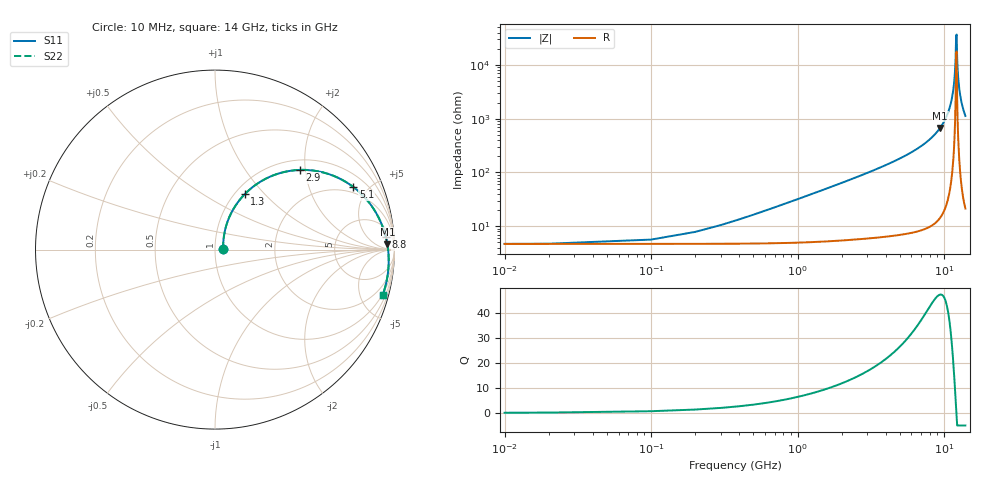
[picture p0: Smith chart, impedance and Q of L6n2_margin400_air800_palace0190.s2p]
! Created with skrf 2.2.0 (http://scikit-rf.org).
# GHz S DB R 50.0
! Port[1] = P1
! Port[2] = P2
!freq dBS11 angS11 dBS21 angS21 dBS12 angS12 dBS22 angS22
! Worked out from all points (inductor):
!   142 points, 10 MHz to 14 GHz, reference 50 ohm
!   read as one part in series: L = 4.98 nH near 500 MHz
!   highest Q = 47.1 at 9.4 GHz (marker M1), where L = 11.4 nH
!   self-resonance near 12.1 GHz
!   S11 on the Smith chart (normalised r, x): 10 MHz: 1.09, +0.01; 1.3 GHz: 1.11, +0.78; 2.9 GHz: 1.22, +1.87; 5.1 GHz: 1.63, +4.01; 8.8 GHz: 12, +19; 14 GHz: 0.93, -7.49
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0.01  -26.97 3.4  -0.40 -0.2  -0.40 -0.2  -26.97 3.4
0.6  -15.30 65.9  -0.59 -10.8  -0.59 -10.8  -15.30 65.9
1.3  -9.08 61.7  -1.11 -22.3  -1.11 -22.3  -9.08 61.7
2.4  -4.83 48.7  -2.40 -37.9  -2.40 -37.9  -4.84 48.7
2.9  -3.77 43.2  -3.12 -43.9  -3.12 -43.9  -3.77 43.2
4.7  -1.70 27.2  -6.05 -60.8  -6.05 -60.8  -1.70 27.2
5.1  -1.45 24.3  -6.76 -63.9  -6.76 -63.9  -1.45 24.3
7.1  -0.70 12.3  -10.68 -76.3  -10.68 -76.3  -0.70 12.3
8.8  -0.41 4.3  -14.94 -84.5  -14.94 -84.5  -0.41 4.3
9.4  -0.35 1.8  -16.86 -87.0  -16.86 -87.0  -0.35 1.8
10.9  -0.26 -4.1  -24.16 -92.5  -24.16 -92.5  -0.26 -4.1
11.4  -0.25 -6.0  -28.71 -93.6  -28.71 -93.6  -0.25 -6.0
11.7  -0.24 -7.1  -33.20 -93.4  -33.20 -93.4  -0.25 -7.1
11.9  -0.24 -7.8  -38.29 -91.5  -38.29 -91.5  -0.24 -7.8
12  -0.24 -8.1  -42.62 -88.0  -42.62 -88.0  -0.24 -8.1
12.1  -0.24 -8.5  -51.08 -71.2  -51.08 -71.2  -0.24 -8.5
12.2  -0.24 -8.8  -51.65 52.4  -51.65 52.4  -0.24 -8.8
12.3  -0.24 -9.2  -42.91 70.8  -42.91 70.8  -0.24 -9.2
12.4  -0.24 -9.5  -38.54 74.5  -38.54 74.5  -0.24 -9.5
12.7  -0.25 -10.6  -31.76 76.8  -31.76 76.8  -0.25 -10.6
13.2  -0.25 -12.3  -26.23 76.3  -26.23 76.3  -0.26 -12.3
14  -0.28 -15.0  -21.46 74.1  -21.46 74.1  -0.28 -15.0
